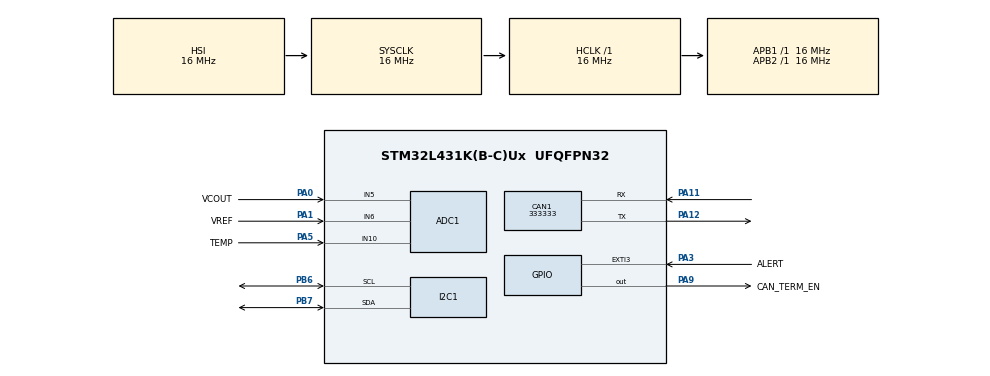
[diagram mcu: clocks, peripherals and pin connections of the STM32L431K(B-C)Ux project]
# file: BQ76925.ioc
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ADC1.Channel-0\#ChannelRegularConversion=ADC_CHANNEL_5
ADC1.NbrOfConversionFlag=1
ADC1.OffsetNumber-0\#ChannelRegularConversion=ADC_OFFSET_NONE
ADC1.Rank-0\#ChannelRegularConversion=1
ADC1.SamplingTime-0\#ChannelRegularConversion=ADC_SAMPLETIME_47CYCLES_5
ADC1.master=1
CAN1.CalculateBaudRate=333333
CAN1.CalculateTimeBit=3000
CAN1.CalculateTimeQuantum=1000.0
I2C1.Timing=0x00503D58
Mcu.Family=STM32L4
Mcu.Name=STM32L431K(B-C)Ux
Mcu.Package=UFQFPN32
NVIC.PriorityGroup=NVIC_PRIORITYGROUP_4
PA0.GPIO_Label=VCOUT
PA0.Signal=ADCx_IN5
PA1.GPIO_Label=VREF
PA1.Signal=ADCx_IN6
PA11.Mode=CAN_Activate
PA11.Signal=CAN1_RX
PA12.Mode=CAN_Activate
PA12.Signal=CAN1_TX
PA13\ (JTMS-SWDIO).Mode=Trace_Asynchronous_SW
PA13\ (JTMS-SWDIO).Signal=SYS_JTMS-SWDIO
PA14\ (JTCK-SWCLK).Mode=Trace_Asynchronous_SW
PA14\ (JTCK-SWCLK).Signal=SYS_JTCK-SWCLK
PA3.GPIO_Label=ALERT
PA3.GPIO_ModeDefaultEXTI=GPIO_MODE_IT_FALLING
PA3.Signal=GPXTI3
PA5.GPIO_Label=TEMP
PA5.Signal=ADCx_IN10
PA9.GPIO_Label=CAN_TERM_EN
PA9.Signal=GPIO_Output
PB3\ (JTDO-TRACESWO).Mode=Trace_Asynchronous_SW
PB3\ (JTDO-TRACESWO).Signal=SYS_JTDO-SWO
PB6.Mode=I2C
PB6.Signal=I2C1_SCL
PB7.Mode=I2C
PB7.Signal=I2C1_SDA
ProjectManager.HeapSize=0x200
ProjectManager.StackSize=0x400
ProjectManager.TargetToolchain=CMake
RCC.ADCFreq_Value=32000000
RCC.AHBFreq_Value=16000000
RCC.APB1Freq_Value=16000000
RCC.APB1TimFreq_Value=16000000
RCC.APB2Freq_Value=16000000
RCC.APB2TimFreq_Value=16000000
RCC.CortexFreq_Value=16000000
RCC.HCLKFreq_Value=16000000
RCC.HSE_VALUE=8000000
RCC.HSI48_VALUE=48000000
RCC.HSI_VALUE=16000000
RCC.LSE_VALUE=32768
RCC.MSI_VALUE=4000000
RCC.PLLSAI1N=16
RCC.SYSCLKFreq_VALUE=16000000
RCC.SYSCLKSource=RCC_SYSCLKSOURCE_HSI
RCC.VCOOutputFreq_Value=32000000
SH.ADCx_IN10.0=ADC1_IN10,IN10-Single-Ended
SH.ADCx_IN5.0=ADC1_IN5,IN5-Single-Ended
SH.ADCx_IN6.0=ADC1_IN6,IN6-Single-Ended
board=custom

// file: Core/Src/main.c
/* USER CODE BEGIN Header */
/**
  ******************************************************************************
  * @file           : main.c
  * @brief          : Main program body
  ******************************************************************************
  * @attention
  *
  * Copyright (c) 2026 STMicroelectronics.
  * All rights reserved.
  *
  * This software is licensed under terms that can be found in the LICENSE file
  * in the root directory of this software component.
  * If no LICENSE file comes with this software, it is provided AS-IS.
  *
  ******************************************************************************
  */
/* USER CODE END Header */
#include "main.h"

/* USER CODE BEGIN Includes */
#include "BQ76925.h"
#include "can.h"
#include "dronecan_msgs.h"
/* USER CODE END Includes */

/* USER CODE BEGIN PTD */
extern struct uavcan_protocol_NodeStatus nodeStatus;

/* USER CODE END PTD */

/* USER CODE BEGIN PM */
#define VREF	3302.0

/* USER CODE END PM */

ADC_HandleTypeDef hadc1;

CAN_HandleTypeDef hcan1;

I2C_HandleTypeDef hi2c1;

/* USER CODE BEGIN PV */
ADC_calibration_values calibration_vals[7];
uint16_t cell_voltage[6];			// Cell voltages in milivolts

int adc_offset;
float adc_gain;
/* USER CODE END PV */

void SystemClock_Config(void);
static void MX_GPIO_Init(void);
static void MX_ADC1_Init(void);
static void MX_CAN1_Init(void);
static void MX_I2C1_Init(void);

/* USER CODE BEGIN 0 */
uint16_t voltage_conversion(uint32_t adc_val, int cell);
int ADC_calibrate();
void get_cell_voltages();

/* USER CODE END 0 */

int main(void)
{

  /* USER CODE BEGIN 1 */
  nodeStatus.health = UAVCAN_PROTOCOL_NODESTATUS_HEALTH_OK;
  nodeStatus.mode = UAVCAN_PROTOCOL_NODESTATUS_MODE_INITIALIZATION;
  nodeStatus.sub_mode = 0;
  nodeStatus.vendor_specific_status_code = 0;
  /* USER CODE END 1 */

  /* MCU Configuration--------------------------------------------------------*/

  /* Reset of all peripherals, Initializes the Flash interface and the Systick. */
  HAL_Init();

  /* Configure the system clock */
  SystemClock_Config();

  /* Initialize all configured peripherals */
  MX_GPIO_Init();
  MX_ADC1_Init();
  MX_CAN1_Init();
  MX_I2C1_Init();
  /* USER CODE BEGIN 2 */
  CAN_init();
  if(init_BQ76925(&hi2c1, calibration_vals)) {
	  return 1;
  }

  ADC_calibrate();
//  vcout(&hi2c1, CELL, C1);
//  uint8_t reg = test_read_reg(&hi2c1);	// Just to test I2C with IC
  /* USER CODE END 2 */

  /* Infinite loop */
  while (1)
  {

    /* USER CODE BEGIN 3 */
	  get_cell_voltages();

    // Every 1ms:
    sendCellVoltages(cell_voltage);
    HAL_Delay(1);
  }
  /* USER CODE END 3 */
}

void SystemClock_Config(void)
{
  RCC_OscInitTypeDef RCC_OscInitStruct = {0};
  RCC_ClkInitTypeDef RCC_ClkInitStruct = {0};

  /** Configure the main internal regulator output voltage
  */
  if (HAL_PWREx_ControlVoltageScaling(PWR_REGULATOR_VOLTAGE_SCALE1) != HAL_OK)
  {
    Error_Handler();
  }

  /** Initializes the RCC Oscillators according to the specified parameters
  * in the RCC_OscInitTypeDef structure.
  */
  RCC_OscInitStruct.OscillatorType = RCC_OSCILLATORTYPE_HSI|RCC_OSCILLATORTYPE_MSI;
  RCC_OscInitStruct.HSIState = RCC_HSI_ON;
  RCC_OscInitStruct.HSICalibrationValue = RCC_HSICALIBRATION_DEFAULT;
  RCC_OscInitStruct.MSIState = RCC_MSI_ON;
  RCC_OscInitStruct.MSICalibrationValue = 0;
  RCC_OscInitStruct.MSIClockRange = RCC_MSIRANGE_6;
  RCC_OscInitStruct.PLL.PLLState = RCC_PLL_NONE;
  if (HAL_RCC_OscConfig(&RCC_OscInitStruct) != HAL_OK)
  {
    Error_Handler();
  }

  /** Initializes the CPU, AHB and APB buses clocks
  */
  RCC_ClkInitStruct.ClockType = RCC_CLOCKTYPE_HCLK|RCC_CLOCKTYPE_SYSCLK
                              |RCC_CLOCKTYPE_PCLK1|RCC_CLOCKTYPE_PCLK2;
  RCC_ClkInitStruct.SYSCLKSource = RCC_SYSCLKSOURCE_HSI;
  RCC_ClkInitStruct.AHBCLKDivider = RCC_SYSCLK_DIV1;
  RCC_ClkInitStruct.APB1CLKDivider = RCC_HCLK_DIV1;
  RCC_ClkInitStruct.APB2CLKDivider = RCC_HCLK_DIV1;

  if (HAL_RCC_ClockConfig(&RCC_ClkInitStruct, FLASH_LATENCY_0) != HAL_OK)
  {
    Error_Handler();
  }
}

static void MX_ADC1_Init(void)
{

  ADC_ChannelConfTypeDef sConfig = {0};

  /** Common config
  */
  hadc1.Instance = ADC1;
  hadc1.Init.ClockPrescaler = ADC_CLOCK_ASYNC_DIV1;
  hadc1.Init.Resolution = ADC_RESOLUTION_12B;
  hadc1.Init.DataAlign = ADC_DATAALIGN_RIGHT;
  hadc1.Init.ScanConvMode = ADC_SCAN_DISABLE;
  hadc1.Init.EOCSelection = ADC_EOC_SINGLE_CONV;
  hadc1.Init.LowPowerAutoWait = DISABLE;
  hadc1.Init.ContinuousConvMode = DISABLE;
  hadc1.Init.NbrOfConversion = 1;
  hadc1.Init.DiscontinuousConvMode = DISABLE;
  hadc1.Init.ExternalTrigConv = ADC_SOFTWARE_START;
  hadc1.Init.ExternalTrigConvEdge = ADC_EXTERNALTRIGCONVEDGE_NONE;
  hadc1.Init.DMAContinuousRequests = DISABLE;
  hadc1.Init.Overrun = ADC_OVR_DATA_PRESERVED;
  hadc1.Init.OversamplingMode = DISABLE;
  if (HAL_ADC_Init(&hadc1) != HAL_OK)
  {
    Error_Handler();
  }

  /** Configure Regular Channel
  */
  sConfig.Channel = ADC_CHANNEL_5;
  sConfig.Rank = ADC_REGULAR_RANK_1;
  sConfig.SamplingTime = ADC_SAMPLETIME_47CYCLES_5;
  sConfig.SingleDiff = ADC_SINGLE_ENDED;
  sConfig.OffsetNumber = ADC_OFFSET_NONE;
  sConfig.Offset = 0;
  if (HAL_ADC_ConfigChannel(&hadc1, &sConfig) != HAL_OK)
  {
    Error_Handler();
  }

}

static void MX_CAN1_Init(void)
{

  hcan1.Instance = CAN1;
  hcan1.Init.Prescaler = 16;
  hcan1.Init.Mode = CAN_MODE_NORMAL;
  hcan1.Init.SyncJumpWidth = CAN_SJW_1TQ;
  hcan1.Init.TimeSeg1 = CAN_BS1_1TQ;
  hcan1.Init.TimeSeg2 = CAN_BS2_1TQ;
  hcan1.Init.TimeTriggeredMode = DISABLE;
  hcan1.Init.AutoBusOff = DISABLE;
  hcan1.Init.AutoWakeUp = DISABLE;
  hcan1.Init.AutoRetransmission = DISABLE;
  hcan1.Init.ReceiveFifoLocked = DISABLE;
  hcan1.Init.TransmitFifoPriority = DISABLE;
  if (HAL_CAN_Init(&hcan1) != HAL_OK)
  {
    Error_Handler();
  }

}

static void MX_I2C1_Init(void)
{

  hi2c1.Instance = I2C1;
  hi2c1.Init.Timing = 0x00503D58;
  hi2c1.Init.OwnAddress1 = 0;
  hi2c1.Init.AddressingMode = I2C_ADDRESSINGMODE_7BIT;
  hi2c1.Init.DualAddressMode = I2C_DUALADDRESS_DISABLE;
  hi2c1.Init.OwnAddress2 = 0;
  hi2c1.Init.OwnAddress2Masks = I2C_OA2_NOMASK;
  hi2c1.Init.GeneralCallMode = I2C_GENERALCALL_DISABLE;
  hi2c1.Init.NoStretchMode = I2C_NOSTRETCH_DISABLE;
  if (HAL_I2C_Init(&hi2c1) != HAL_OK)
  {
    Error_Handler();
  }

  /** Configure Analogue filter
  */
  if (HAL_I2CEx_ConfigAnalogFilter(&hi2c1, I2C_ANALOGFILTER_ENABLE) != HAL_OK)
  {
    Error_Handler();
  }

  /** Configure Digital filter
  */
  if (HAL_I2CEx_ConfigDigitalFilter(&hi2c1, 0) != HAL_OK)
  {
    Error_Handler();
  }

}

static void MX_GPIO_Init(void)
{
  GPIO_InitTypeDef GPIO_InitStruct = {0};

  /* GPIO Ports Clock Enable */
  __HAL_RCC_GPIOA_CLK_ENABLE();
  __HAL_RCC_GPIOB_CLK_ENABLE();

  /*Configure GPIO pin Output Level */
  HAL_GPIO_WritePin(CAN_TERM_EN_GPIO_Port, CAN_TERM_EN_Pin, GPIO_PIN_RESET);

  /*Configure GPIO pin : ALERT_Pin */
  GPIO_InitStruct.Pin = ALERT_Pin;
  GPIO_InitStruct.Mode = GPIO_MODE_IT_FALLING;
  GPIO_InitStruct.Pull = GPIO_NOPULL;
  HAL_GPIO_Init(ALERT_GPIO_Port, &GPIO_InitStruct);

  /*Configure GPIO pin : CAN_TERM_EN_Pin */
  GPIO_InitStruct.Pin = CAN_TERM_EN_Pin;
  GPIO_InitStruct.Mode = GPIO_MODE_OUTPUT_PP;
  GPIO_InitStruct.Pull = GPIO_NOPULL;
  GPIO_InitStruct.Speed = GPIO_SPEED_FREQ_LOW;
  HAL_GPIO_Init(CAN_TERM_EN_GPIO_Port, &GPIO_InitStruct);

}

/* USER CODE BEGIN 4 */
uint16_t voltage_conversion(uint32_t adc_val, int cell) {
	// Temporarily rough just to test
	cell += 1;
	float raw_voltage = (VREF/4096.0)*adc_val;		              // 3302mV measured at STM VREF pin
	uint16_t MCU_corrected = (raw_voltage+adc_offset)*adc_gain;
	float GC_vref = (1+(calibration_vals[0].gain_corr*0.001))
			+ (calibration_vals[0].offset_corr * 0.001)/VREF;

	uint16_t corrected_voltage = (((raw_voltage*GC_vref
			+ calibration_vals[cell].offset_corr) / 0.3)
			+ (1 + calibration_vals[cell].gain_corr));

	return corrected_voltage;
}

int ADC_calibrate() {
	float vref_points[2];

	vcout(&hi2c1, VREF05, C1);
	HAL_Delay(1);
	HAL_ADC_Start(&hadc1);
	HAL_ADC_PollForConversion(&hadc1, 10);
	vref_points[0] = (VREF/4096)*HAL_ADC_GetValue(&hadc1);
	HAL_ADC_Stop(&hadc1);

	vcout(&hi2c1, VREF085, C1);
	HAL_Delay(1);
	HAL_ADC_Start(&hadc1);
	HAL_ADC_PollForConversion(&hadc1, 10);
	vref_points[1] = (VREF/4096)*HAL_ADC_GetValue(&hadc1);
	HAL_ADC_Stop(&hadc1);

	adc_offset = BQ_VREF*0.5 - vref_points[0];
	adc_gain = (vref_points[1]+adc_offset) / (BQ_VREF*0.85);

  return 0;
}

void get_cell_voltages() {
	for(int cell = 0; cell < 6; cell++) {
		if(vcout(&hi2c1, CELL, C1 + cell)) { // Change to VREF05 for debugging
			return;
		}
		HAL_Delay(1);
		HAL_ADC_Start(&hadc1);
		HAL_ADC_PollForConversion(&hadc1, 10);
		uint32_t adc_val = HAL_ADC_GetValue(&hadc1);
		HAL_ADC_Stop(&hadc1);
		adc_val = voltage_conversion(adc_val, cell);
    	cell_voltage[cell] = adc_val;
	}
}
/* USER CODE END 4 */

void Error_Handler(void)
{
  __disable_irq();
  while (1)
  {
  }
}
